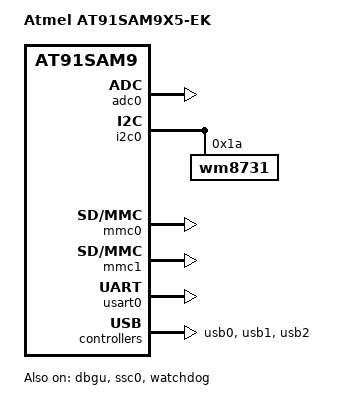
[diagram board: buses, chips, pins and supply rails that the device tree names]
// SPDX-License-Identifier: GPL-2.0-or-later
/*
 * at91sam9x5ek.dtsi - Device Tree file for AT91SAM9x5CM Base board
 *
 *  Copyright (C) 2012 Atmel,
 *                2012 Nicolas Ferre <nicolas.ferre@atmel.com>
 */
#include "at91sam9x5cm.dtsi"

/ {
	model = "Atmel AT91SAM9X5-EK";
	compatible = "atmel,at91sam9x5ek", "atmel,at91sam9x5", "atmel,at91sam9";

	chosen {
		bootargs = "root=/dev/mtdblock1 rw rootfstype=ubifs ubi.mtd=1 root=ubi0:rootfs";
		stdout-path = "serial0:115200n8";
	};

	sound {
		compatible = "atmel,sam9x5-wm8731-audio";

		atmel,model = "wm8731 @ AT91SAM9X5EK";

		atmel,audio-routing =
			"Headphone Jack", "RHPOUT",
			"Headphone Jack", "LHPOUT",
			"LLINEIN", "Line In Jack",
			"RLINEIN", "Line In Jack";

		atmel,ssc-controller = <&ssc0>;
		atmel,audio-codec = <&wm8731>;
	};
};

&adc0 {
	atmel,adc-ts-wires = <4>;
	atmel,adc-ts-pressure-threshold = <10000>;
	status = "okay";
};

&dbgu {
	status = "okay";
};

&i2c0 {
	status = "okay";

	wm8731: wm8731@1a {
		compatible = "wm8731";
		reg = <0x1a>;
	};
};

&mmc0 {
	pinctrl-0 = <
		&pinctrl_board_mmc0
		&pinctrl_mmc0_slot0_clk_cmd_dat0
		&pinctrl_mmc0_slot0_dat1_3>;
	pinctrl-names = "default";
	status = "okay";

	slot@0 {
		reg = <0>;
		bus-width = <4>;
		cd-gpios = <&pioD 15 GPIO_ACTIVE_HIGH>;
	};
};

&mmc1 {
	pinctrl-0 = <
		&pinctrl_board_mmc1
		&pinctrl_mmc1_slot0_clk_cmd_dat0
		&pinctrl_mmc1_slot0_dat1_3>;
	pinctrl-names = "default";
	status = "okay";

	slot@0 {
		reg = <0>;
		bus-width = <4>;
		cd-gpios = <&pioD 14 GPIO_ACTIVE_HIGH>;
	};
};

&pinctrl {
	camera_sensor {
		pinctrl_pck0_as_isi_mck: pck0_as_isi_mck-0 {
			atmel,pins =
				<AT91_PIOC 15 AT91_PERIPH_C AT91_PINCTRL_NONE>;	/* ISI_MCK */
		};

		pinctrl_sensor_power: sensor_power-0 {
			atmel,pins =
				<AT91_PIOA 13 AT91_PERIPH_GPIO AT91_PINCTRL_NONE>;
		};

		pinctrl_sensor_reset: sensor_reset-0 {
			atmel,pins =
				<AT91_PIOA 7 AT91_PERIPH_GPIO AT91_PINCTRL_NONE>;
		};
	};

	mmc0 {
		pinctrl_board_mmc0: mmc0-board {
			atmel,pins =
				<AT91_PIOD 15 AT91_PERIPH_GPIO AT91_PINCTRL_PULL_UP_DEGLITCH>;	/* PD15 gpio CD pin pull up and deglitch */
		};
	};

	mmc1 {
		pinctrl_board_mmc1: mmc1-board {
			atmel,pins =
				<AT91_PIOD 14 AT91_PERIPH_GPIO AT91_PINCTRL_PULL_UP_DEGLITCH>;	/* PD14 gpio CD pin pull up and deglitch */
		};
	};

	usb2 {
		pinctrl_board_usb2: usb2-board {
			atmel,pins =
				<AT91_PIOB 16 AT91_PERIPH_GPIO AT91_PINCTRL_DEGLITCH>;		/* PB16 gpio vbus sense, deglitch */
		};
	};
};

&spi0 {
	cs-gpios = <&pioA 14 0>, <0>, <0>, <0>;
	status = "disabled"; /* conflicts with mmc1 */

	flash@0 {
		compatible = "atmel,at25df321a";
		spi-max-frequency = <50000000>;
		reg = <0>;
	};
};

&ssc0 {
	status = "okay";
};

&usart0 {
	atmel,use-dma-rx;
	atmel,use-dma-tx;
	status = "okay";
};

&usb0 {
	num-ports = <3>;
	atmel,vbus-gpio = <0 /* &pioD 18 GPIO_ACTIVE_LOW *//* Activate to have access to port A */
			   &pioD 19 GPIO_ACTIVE_LOW
			   &pioD 20 GPIO_ACTIVE_LOW
			  >;
	status = "okay";
};

&usb1 {
	status = "okay";
};

&usb2 {
	pinctrl-names = "default";
	pinctrl-0 = <&pinctrl_board_usb2>;
	atmel,vbus-gpio = <&pioB 16 GPIO_ACTIVE_HIGH>;
	status = "okay";
};

&watchdog {
	status = "okay";
};
